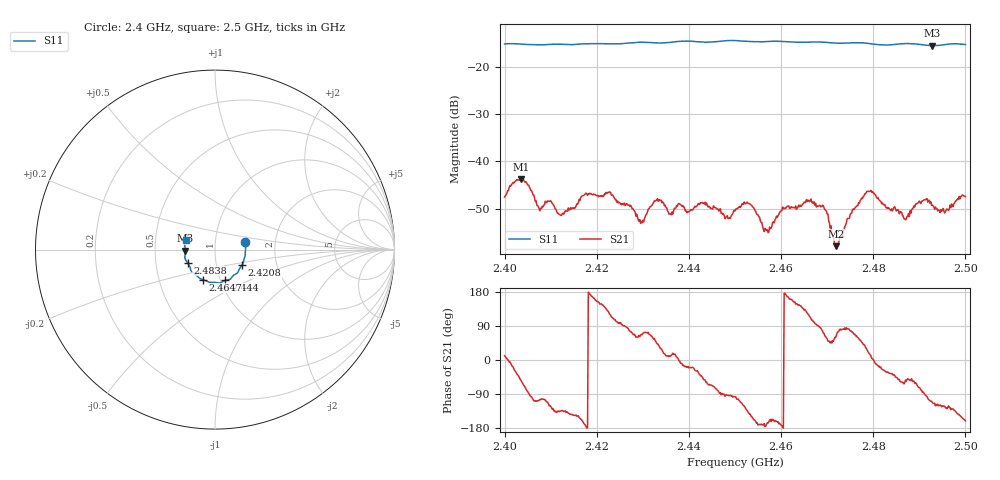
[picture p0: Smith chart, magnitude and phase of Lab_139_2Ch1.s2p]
# Hz S RI R 50
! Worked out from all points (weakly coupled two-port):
!   601 points, 2.4 GHz to 2.5 GHz, reference 50 ohm
!   highest |S21| = -43.79 dB at 2.4035 GHz (marker M1); lowest = -57.9 dB at 2.472 GHz (marker M2)
!   lowest |S11| = -15.6 dB at 2.4928 GHz (marker M3), VSWR 1.40, Z = 35.8 - j0.372 ohm
!   |S11| at or under -10 dB: start of sweep to end of sweep
!   S12 and S22 are empty: the file has one direction only
!   S11 on the Smith chart (normalised r, x): 2.4 GHz: 1.40, +0.12; 2.4208 GHz: 1.33, -0.24; 2.444 GHz: 1.06, -0.37; 2.4647 GHz: 0.83, -0.29; 2.4838 GHz: 0.73, -0.11; 2.5 GHz: 0.72, +0.08
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2.4e9  0.1677 0.0411  0.00413 0.00083  0 0  0 0
2.4035e9  0.1712 0.0212  0.00392 -0.00514  0 0  0 0
2.4075e9  0.1689 -0.0135  -0.000909 -0.00303  0 0  0 0
2.412e9  0.1673 -0.0388  -0.00194 -0.00193  0 0  0 0
2.416667e9  0.159 -0.068  -0.00391 -0.00168  0 0  0 0
2.420833e9  0.1507 -0.0872  -0.00368 0.00231  0 0  0 0
2.429667e9  0.1253 -0.1292  0.000902 0.00215  0 0  0 0
2.433333e9  0.1079 -0.1402  0.00285 0.00253  0 0  0 0
2.436e9  0.0945 -0.1532  0.00274 0.00048  0 0  0 0
2.444e9  0.0581 -0.1708  0.00157 -0.00307  0 0  0 0
2.45e9  0.0244 -0.1862  -0.00035 -0.00299  0 0  0 0
2.453167e9  0.00737 -0.1835  -0.00288 -0.00213  0 0  0 0
2.456833e9  -0.019 -0.1822  -0.00184 -0.00033  0 0  0 0
2.464667e9  -0.0673 -0.167  -0.0026 0.00242  0 0  0 0
2.466667e9  -0.0801 -0.1627  -0.000968 0.00356  0 0  0 0
2.469667e9  -0.092 -0.1547  0.00144 0.0027  0 0  0 0
2.472e9  -0.1019 -0.1439  0.000543 0.00116  0 0  0 0
2.478667e9  -0.1358 -0.1118  0.00434 0.00215  0 0  0 0
2.483333e9  -0.1506 -0.0762  0.00271 -0.00181  0 0  0 0
2.483833e9  -0.1532 -0.0721  0.00244 -0.00182  0 0  0 0
2.492833e9  -0.1659 -0.00506  -0.00134 -0.00319  0 0  0 0
2.5e9  -0.1623 0.0528  -0.00403 -0.00141  0 0  0 0
